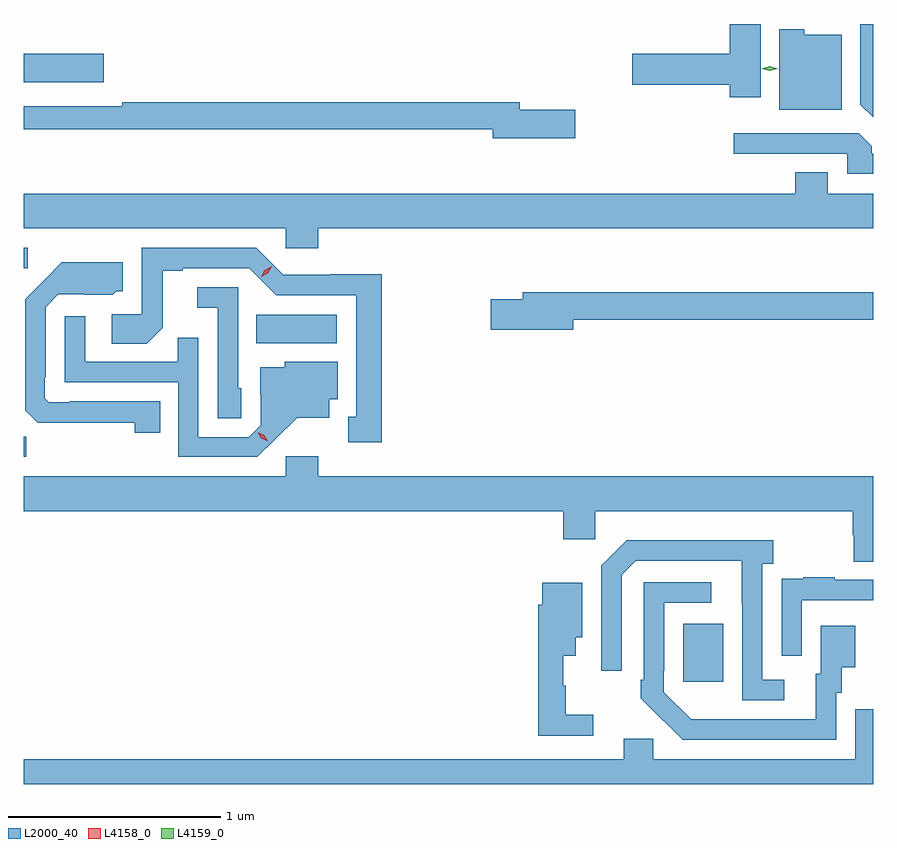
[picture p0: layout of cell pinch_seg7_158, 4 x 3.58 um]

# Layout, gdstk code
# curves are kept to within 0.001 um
import gdstk
lib = gdstk.Library(unit=1e-6, precision=1e-09)
def R(c, l, rs):  # rectangles x0, y0, x1, y1
    for r in rs: c.add(gdstk.rectangle(r[:2], r[2:], *l))
def P(c, l, *ps):  # polygons
    for p in ps: c.add(gdstk.Polygon(p, *l))
L2000_40 = (2000, 40)
L4158_0 = (4158, 0)
L4159_0 = (4159, 0)

pinch_seg7_158 = lib.new_cell('pinch_seg7_158')
R(pinch_seg7_158, L2000_40, [(1033.151,998.481,1033.339,998.755), (1030.046,999.54,1030.059,999.635), (1031.14,1000.076,1031.521,1000.21), (1030.046,1000.428,1030.066,1000.524), (1030.046,1001.303,1030.423,1001.438)])
P(pinch_seg7_158, L2000_40, [(1034.046,1001.578),(1033.985,1001.578),(1033.985,1001.199),(1034.045,1001.139),(1034.046,1001.139)],
  [(1033.516,1001.578),(1033.37,1001.578),(1033.37,1001.438),(1032.912,1001.438),(1032.912,1001.291),(1033.37,1001.291),(1033.37,1001.232),(1033.516,1001.232)],
  [(1033.897,1001.527),(1033.722,1001.527),(1033.722,1001.554),(1033.604,1001.554),(1033.604,1001.174),(1033.897,1001.174)],
  [(1032.643,1001.174),(1032.382,1001.174),(1032.382,1001.21),(1030.51,1001.21),(1030.51,1001.19),(1030.046,1001.19),(1030.046,1001.082),(1032.254,1001.082),(1032.254,1001.039),(1032.643,1001.039)],
  [(1034.046,1000.968),(1034.039,1000.968),(1034.039,1001.002),(1033.977,1001.064),(1033.389,1001.064),(1033.389,1000.968),(1033.923,1000.968),(1033.923,1000.872),(1034.046,1000.872)],
  [(1031.432,1000.616),(1034.046,1000.616),(1034.046,1000.78),(1033.831,1000.78),(1033.831,1000.879),(1033.679,1000.879),(1033.679,1000.78),(1030.046,1000.78),(1030.046,1000.616),(1031.28,1000.616),(1031.28,1000.523),(1031.432,1000.523)],
  [(1031.731,1000.4),(1031.49,1000.4),(1031.49,1000.398),(1031.268,1000.398),(1031.142,1000.524),(1030.602,1000.524),(1030.602,1000.212),(1030.461,1000.212),(1030.461,1000.072),(1030.625,1000.072),(1030.701,1000.148),(1030.701,1000.416),(1030.795,1000.416),(1030.795,1000.428),(1031.109,1000.428),(1031.235,1000.302),(1031.612,1000.302),(1031.612,999.729),(1031.573,999.729),(1031.573,999.609),(1031.731,999.609)],
  [(1030.688,999.801),(1030.264,999.801),(1030.264,999.798),(1030.164,999.798),(1030.146,999.816),(1030.146,999.916),(1030.149,999.916),(1030.149,1000.245),(1030.209,1000.305),(1030.466,1000.304),(1030.482,1000.32),(1030.513,1000.32),(1030.513,1000.456),(1030.225,1000.456),(1030.053,1000.282),(1030.053,999.76),(1030.112,999.701),(1030.57,999.7),(1030.57,999.654),(1030.688,999.654)],
  [(1031.07,999.864),(1031.055,999.864),(1031.055,1000.338),(1030.863,1000.338),(1030.863,1000.241),(1030.959,1000.241),(1030.959,999.721),(1031.07,999.721)],
  [(1032.634,1000.186),(1034.046,1000.186),(1034.046,1000.315),(1032.395,1000.315),(1032.395,1000.281),(1032.246,1000.281),(1032.246,1000.139),(1032.634,1000.139)],
  [(1031.23,999.623),(1031.333,999.725),(1031.485,999.725),(1031.485,999.812),(1031.524,999.812),(1031.524,999.988),(1031.274,999.988),(1031.274,999.961),(1031.159,999.961),(1031.159,999.832),(1031.163,999.832),(1031.163,999.69),(1031.106,999.633),(1030.869,999.633),(1030.869,1000.1),(1030.771,1000.1),(1030.771,999.987),(1030.335,999.987),(1030.335,1000.201),(1030.239,1000.201),(1030.239,999.891),(1030.773,999.891),(1030.773,999.54),(1031.146,999.54)],
  [(1034.046,999.448),(1031.432,999.448),(1031.432,999.544),(1031.28,999.544),(1031.28,999.448),(1030.046,999.448),(1030.046,999.284),(1032.587,999.284),(1032.587,999.153),(1032.738,999.153),(1032.738,999.284),(1033.949,999.284),(1033.949,999.171),(1033.954,999.171),(1033.954,999.046),(1034.046,999.046)],
  [(1033.627,998.49),(1033.524,998.49),(1033.524,999.038),(1033.576,999.038),(1033.576,999.148),(1032.886,999.148),(1032.765,999.027),(1032.765,998.532),(1032.861,998.532),(1032.861,998.985),(1032.927,999.051),(1033.427,999.051),(1033.428,998.394),(1033.627,998.394)],
  [(1033.71,998.865),(1034.046,998.865),(1034.046,998.961),(1033.865,998.961),(1033.865,998.974),(1033.717,998.974),(1033.717,998.967),(1033.615,998.967),(1033.615,998.858),(1033.614,998.858),(1033.614,998.604),(1033.71,998.604)],
  [(1033.872,998.43),(1033.897,998.43),(1033.897,998.549),(1033.96,998.549),(1033.96,998.746),(1033.799,998.746),(1033.799,998.52),(1033.775,998.52),(1033.775,998.304),(1033.188,998.305),(1033.059,998.433),(1033.059,998.533),(1033.062,998.533),(1033.062,998.853),(1033.282,998.853),(1033.282,998.949),(1032.966,998.949),(1032.966,998.491),(1032.951,998.491),(1032.951,998.403),(1033.148,998.208),(1033.872,998.208)],
  [(1032.727,998.327),(1032.598,998.327),(1032.598,998.463),(1032.587,998.463),(1032.587,998.603),(1032.646,998.603),(1032.646,998.69),(1032.676,998.69),(1032.676,998.947),(1032.488,998.947),(1032.488,998.843),(1032.469,998.843),(1032.469,998.226),(1032.727,998.226)],
  [(1034.046,998.352),(1033.961,998.352),(1033.961,998.116),(1033.011,998.116),(1033.011,998.214),(1032.872,998.214),(1032.872,998.116),(1030.046,998.116),(1030.046,998),(1034.046,998)])
P(pinch_seg7_158, L4158_0, [(1031.164,1000.387),(1031.164,1000.387),(1031.182,1000.419),(1031.214,1000.438),(1031.214,1000.438),(1031.214,1000.437),(1031.196,1000.405),(1031.164,1000.387)],
  [(1031.195,999.613),(1031.164,999.627),(1031.147,999.657),(1031.147,999.657),(1031.147,999.657),(1031.178,999.642),(1031.195,999.613),(1031.195,999.613)])
P(pinch_seg7_158, L4159_0, [(1033.559,1001.358),(1033.521,1001.368),(1033.521,1001.368),(1033.521,1001.368),(1033.559,1001.378),(1033.597,1001.368),(1033.597,1001.368),(1033.597,1001.368)])

lib.write_gds('pinch_seg7_158.gds')
